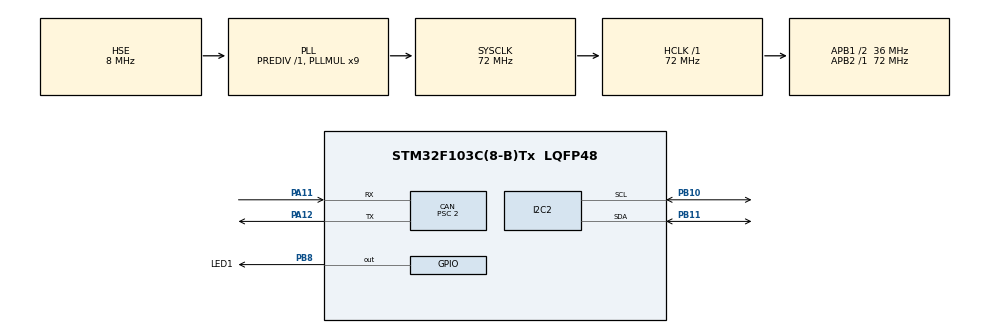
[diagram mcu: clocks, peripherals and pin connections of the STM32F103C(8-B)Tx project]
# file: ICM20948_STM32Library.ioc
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CAN.BS1=CAN_BS1_16TQ
CAN.BS2=CAN_BS2_1TQ
CAN.CalculateBaudRate=1000000
CAN.CalculateTimeBit=1000
CAN.CalculateTimeQuantum=55.55555555555556
CAN.Prescaler=2
Mcu.Family=STM32F1
Mcu.Name=STM32F103C(8-B)Tx
Mcu.Package=LQFP48
NVIC.PriorityGroup=NVIC_PRIORITYGROUP_4
PA11.Mode=CAN_Activate
PA11.Signal=CAN_RX
PA12.Mode=CAN_Activate
PA12.Signal=CAN_TX
PA13.Mode=Serial_Wire
PA13.Signal=SYS_JTMS-SWDIO
PA14.Mode=Serial_Wire
PA14.Signal=SYS_JTCK-SWCLK
PB10.Mode=I2C
PB10.Signal=I2C2_SCL
PB11.Mode=I2C
PB11.Signal=I2C2_SDA
PB8.GPIO_Label=LED1
PB8.Signal=GPIO_Output
PD0-OSC_IN.Mode=HSE-External-Oscillator
PD0-OSC_IN.Signal=RCC_OSC_IN
PD1-OSC_OUT.Mode=HSE-External-Oscillator
PD1-OSC_OUT.Signal=RCC_OSC_OUT
ProjectManager.HeapSize=0x200
ProjectManager.StackSize=0x400
ProjectManager.TargetToolchain=STM32CubeIDE
RCC.AHBFreq_Value=72000000
RCC.APB1CLKDivider=RCC_HCLK_DIV2
RCC.APB1Freq_Value=36000000
RCC.APB1TimFreq_Value=72000000
RCC.APB2Freq_Value=72000000
RCC.APB2TimFreq_Value=72000000
RCC.HCLKFreq_Value=72000000
RCC.PLLMUL=RCC_PLL_MUL9
RCC.PLLSourceVirtual=RCC_PLLSOURCE_HSE
RCC.SYSCLKFreq_VALUE=72000000
RCC.SYSCLKSource=RCC_SYSCLKSOURCE_PLLCLK
RCC.USBFreq_Value=72000000
board=custom

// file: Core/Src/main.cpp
/* USER CODE BEGIN Header */
/**
  ******************************************************************************
  * @file           : main.c
  * @brief          : Main program body
  ******************************************************************************
  * @attention
  *
  * <h2><center>&copy; Copyright (c) 2022 STMicroelectronics.
  * All rights reserved.</center></h2>
  *
  * This software component is licensed by ST under BSD 3-Clause license,
  * the "License"; You may not use this file except in compliance with the
  * License. You may obtain a copy of the License at:
  *                        opensource.org/licenses/BSD-3-Clause
  *
  ******************************************************************************
  */
/* USER CODE END Header */
#include "main.h"

/* USER CODE BEGIN Includes */
#include "ICM_20948.h"
#include "math.h"
/* USER CODE END Includes */

CAN_HandleTypeDef hcan;

I2C_HandleTypeDef hi2c2;

/* USER CODE BEGIN PV */
CAN_TxHeaderTypeDef   TxHeader;
uint32_t              TxMailbox;

bool success;
uint8_t IMUdata[8];
unsigned long long time;
double q0, q1, q2, q3;
float roll, pitch, yaw;
float ax, ay, az;
float gx, gy, gz;
float mx, my, mz;
/* USER CODE END PV */

void SystemClock_Config(void);
static void MX_GPIO_Init(void);
static void MX_CAN_Init(void);
static void MX_I2C2_Init(void);

int main(void)
{

  /* MCU Configuration--------------------------------------------------------*/

  /* Reset of all peripherals, Initializes the Flash interface and the Systick. */
  HAL_Init();

  /* Configure the system clock */
  SystemClock_Config();

  /* Initialize all configured peripherals */
  MX_GPIO_Init();
  MX_CAN_Init();
  MX_I2C2_Init();
  /* USER CODE BEGIN 2 */
  	TxHeader.IDE = CAN_ID_STD;
    TxHeader.StdId = 0x69;
    TxHeader.RTR = CAN_RTR_DATA;
    TxHeader.DLC = 8 ;

    CAN_FilterTypeDef canfilterconfig;
    canfilterconfig.FilterActivation = CAN_FILTER_ENABLE;
    canfilterconfig.FilterBank = 18;  // which filter bank to use from the assigned ones
    canfilterconfig.FilterFIFOAssignment = CAN_FILTER_FIFO0;
    canfilterconfig.FilterIdHigh = 0x446<<5;
    canfilterconfig.FilterIdLow = 0;
    canfilterconfig.FilterMaskIdHigh = 0x446<<5;
    canfilterconfig.FilterMaskIdLow = 0x0000;
    canfilterconfig.FilterMode = CAN_FILTERMODE_IDMASK;
    canfilterconfig.FilterScale = CAN_FILTERSCALE_32BIT;
    canfilterconfig.SlaveStartFilterBank = 20;  // how many filters to assign to the CAN1 (master can)
    HAL_CAN_ConfigFilter(&hcan, &canfilterconfig);

    HAL_CAN_Start(&hcan);
    HAL_CAN_ActivateNotification(&hcan,CAN_IT_RX_FIFO0_MSG_PENDING);

    HAL_GPIO_WritePin(GPIOB, GPIO_PIN_8, GPIO_PIN_SET);
    HAL_Delay(250);
    HAL_GPIO_WritePin(GPIOB, GPIO_PIN_8, GPIO_PIN_RESET);

    ICM_20948_I2C myICM;

    bool initialized = false;
    while (!initialized)
     {
       myICM.begin();
       if (myICM.status != ICM_20948_Stat_Ok)
       {
         HAL_Delay(50);
       }
       else
       {
         initialized = true;
       }
     }

    HAL_GPIO_WritePin(GPIOB, GPIO_PIN_8, GPIO_PIN_SET);
    HAL_Delay(250);
    HAL_GPIO_WritePin(GPIOB, GPIO_PIN_8, GPIO_PIN_RESET);

    // Initialize the digital motion processor
    success = true; // Use success to show if the DMP configuration was successful
    success &= (myICM.initializeDMP() == ICM_20948_Stat_Ok);

    success &= (myICM.enableDMPSensor(INV_ICM20948_SENSOR_ORIENTATION) == ICM_20948_Stat_Ok);
    success &= (myICM.enableDMPSensor(INV_ICM20948_SENSOR_RAW_GYROSCOPE) == ICM_20948_Stat_Ok);
    success &= (myICM.enableDMPSensor(INV_ICM20948_SENSOR_RAW_ACCELEROMETER) == ICM_20948_Stat_Ok);
    success &= (myICM.enableDMPSensor(INV_ICM20948_SENSOR_MAGNETIC_FIELD_UNCALIBRATED) == ICM_20948_Stat_Ok);

    success &= (myICM.setDMPODRrate(DMP_ODR_Reg_Quat9, 0) == ICM_20948_Stat_Ok); // Set to the maximum
    success &= (myICM.setDMPODRrate(DMP_ODR_Reg_Accel, 0) == ICM_20948_Stat_Ok); // Set to the maximum
    success &= (myICM.setDMPODRrate(DMP_ODR_Reg_Gyro, 0) == ICM_20948_Stat_Ok); // Set to the maximum
    success &= (myICM.setDMPODRrate(DMP_ODR_Reg_Cpass, 0) == ICM_20948_Stat_Ok); // Set to the maximum

    success &= (myICM.enableFIFO() == ICM_20948_Stat_Ok);
    success &= (myICM.enableDMP() == ICM_20948_Stat_Ok);
    success &= (myICM.resetDMP() == ICM_20948_Stat_Ok);
    success &= (myICM.resetFIFO() == ICM_20948_Stat_Ok);

    if (success)
    {
    	HAL_GPIO_WritePin(GPIOB, GPIO_PIN_8, GPIO_PIN_SET);
    }
  /* USER CODE END 2 */

  /* Infinite loop */
  /* USER CODE BEGIN WHILE */
  while (1)
  {
	  icm_20948_DMP_data_t data;
	    myICM.readDMPdataFromFIFO(&data);

	    if ((myICM.status == ICM_20948_Stat_Ok) || (myICM.status == ICM_20948_Stat_FIFOMoreDataAvail)) // Was valid data available?
	    {

	      if ((data.header & DMP_header_bitmap_Quat9) > 0) // We have asked for orientation data so we should receive Quat9
	      {
	        q1 = ((double)data.Quat9.Data.Q1) / 1073741824.0; // Convert to double. Divide by 2^30
	        q2 = ((double)data.Quat9.Data.Q2) / 1073741824.0; // Convert to double. Divide by 2^30
	        q3 = ((double)data.Quat9.Data.Q3) / 1073741824.0; // Convert to double. Divide by 2^30
	        q0 = sqrt(1.0 - ((q1 * q1) + (q2 * q2) + (q3 * q3)));
	        float q2sqr = q2 * q2;

		      // Roll
	          float t0 = +2.0 * (q0 * q1 + q2 * q3);
	          float t1 = +1.0 - 2.0 * (q1 * q1 + q2sqr);
	          roll = atan2(t0, t1) * 180.0 / M_PI;

	          // Pitch
	          float t2 = +2.0 * (q0 * q2 - q3 * q1);
	          t2 = (t2 > 1.0) ? 1.0 : t2;
	          t2 = (t2 < -1.0) ? -1.0 : t2;
	          pitch = asin(t2) * 180.0 / M_PI;

	          // Yaw
	          float t3 = +2.0 * (q0 * q3 + q1 * q2);
	          float t4 = +1.0 - 2.0 * (q2sqr + q3 * q3);
	          yaw = atan2(t3, t4) * 180.0 / M_PI;
	      }

	      if ((data.header & DMP_header_bitmap_Accel) > 0) // Check for Accel
	      {
	        ax = (float)data.Raw_Accel.Data.X; // Extract the raw accelerometer data
	        ay = (float)data.Raw_Accel.Data.Y;
	        az = (float)data.Raw_Accel.Data.Z;
	      }

	      if ( (data.header & DMP_header_bitmap_Gyro) > 0 ) // Check for Gyro
	      {
	        gx = (float)data.Raw_Gyro.Data.X; // Extract the raw gyro data
	        gy = (float)data.Raw_Gyro.Data.Y;
	        gz = (float)data.Raw_Gyro.Data.Z;
	      }

	      if ( (data.header & DMP_header_bitmap_Compass) > 0 ) // Check for Compass
	      {
	        mx = (float)data.Compass.Data.X; // Extract the compass data
	        my = (float)data.Compass.Data.Y;
	        mz = (float)data.Compass.Data.Z;
	      }
	    }

	    if (myICM.status != ICM_20948_Stat_FIFOMoreDataAvail) // If more data is available then we should read it right away - and not delay
	    {
	    	HAL_Delay(10);
	    }
    /* USER CODE END WHILE */

  }
}

void SystemClock_Config(void)
{
  RCC_OscInitTypeDef RCC_OscInitStruct = {0};
  RCC_ClkInitTypeDef RCC_ClkInitStruct = {0};

  /** Initializes the RCC Oscillators according to the specified parameters
  * in the RCC_OscInitTypeDef structure.
  */
  RCC_OscInitStruct.OscillatorType = RCC_OSCILLATORTYPE_HSE;
  RCC_OscInitStruct.HSEState = RCC_HSE_ON;
  RCC_OscInitStruct.HSEPredivValue = RCC_HSE_PREDIV_DIV1;
  RCC_OscInitStruct.HSIState = RCC_HSI_ON;
  RCC_OscInitStruct.PLL.PLLState = RCC_PLL_ON;
  RCC_OscInitStruct.PLL.PLLSource = RCC_PLLSOURCE_HSE;
  RCC_OscInitStruct.PLL.PLLMUL = RCC_PLL_MUL9;
  if (HAL_RCC_OscConfig(&RCC_OscInitStruct) != HAL_OK)
  {
    Error_Handler();
  }
  /** Initializes the CPU, AHB and APB buses clocks
  */
  RCC_ClkInitStruct.ClockType = RCC_CLOCKTYPE_HCLK|RCC_CLOCKTYPE_SYSCLK
                              |RCC_CLOCKTYPE_PCLK1|RCC_CLOCKTYPE_PCLK2;
  RCC_ClkInitStruct.SYSCLKSource = RCC_SYSCLKSOURCE_PLLCLK;
  RCC_ClkInitStruct.AHBCLKDivider = RCC_SYSCLK_DIV1;
  RCC_ClkInitStruct.APB1CLKDivider = RCC_HCLK_DIV2;
  RCC_ClkInitStruct.APB2CLKDivider = RCC_HCLK_DIV1;

  if (HAL_RCC_ClockConfig(&RCC_ClkInitStruct, FLASH_LATENCY_2) != HAL_OK)
  {
    Error_Handler();
  }
}

static void MX_CAN_Init(void)
{

  hcan.Instance = CAN1;
  hcan.Init.Prescaler = 2;
  hcan.Init.Mode = CAN_MODE_NORMAL;
  hcan.Init.SyncJumpWidth = CAN_SJW_1TQ;
  hcan.Init.TimeSeg1 = CAN_BS1_16TQ;
  hcan.Init.TimeSeg2 = CAN_BS2_1TQ;
  hcan.Init.TimeTriggeredMode = DISABLE;
  hcan.Init.AutoBusOff = DISABLE;
  hcan.Init.AutoWakeUp = DISABLE;
  hcan.Init.AutoRetransmission = DISABLE;
  hcan.Init.ReceiveFifoLocked = DISABLE;
  hcan.Init.TransmitFifoPriority = DISABLE;
  if (HAL_CAN_Init(&hcan) != HAL_OK)
  {
    Error_Handler();
  }

}

static void MX_I2C2_Init(void)
{

  hi2c2.Instance = I2C2;
  hi2c2.Init.ClockSpeed = 100000;
  hi2c2.Init.DutyCycle = I2C_DUTYCYCLE_2;
  hi2c2.Init.OwnAddress1 = 0;
  hi2c2.Init.AddressingMode = I2C_ADDRESSINGMODE_7BIT;
  hi2c2.Init.DualAddressMode = I2C_DUALADDRESS_DISABLE;
  hi2c2.Init.OwnAddress2 = 0;
  hi2c2.Init.GeneralCallMode = I2C_GENERALCALL_DISABLE;
  hi2c2.Init.NoStretchMode = I2C_NOSTRETCH_DISABLE;
  if (HAL_I2C_Init(&hi2c2) != HAL_OK)
  {
    Error_Handler();
  }

}

static void MX_GPIO_Init(void)
{
  GPIO_InitTypeDef GPIO_InitStruct = {0};

  /* GPIO Ports Clock Enable */
  __HAL_RCC_GPIOD_CLK_ENABLE();
  __HAL_RCC_GPIOB_CLK_ENABLE();
  __HAL_RCC_GPIOA_CLK_ENABLE();

  /*Configure GPIO pin Output Level */
  HAL_GPIO_WritePin(LED1_GPIO_Port, LED1_Pin, GPIO_PIN_RESET);

  /*Configure GPIO pin : LED1_Pin */
  GPIO_InitStruct.Pin = LED1_Pin;
  GPIO_InitStruct.Mode = GPIO_MODE_OUTPUT_PP;
  GPIO_InitStruct.Pull = GPIO_NOPULL;
  GPIO_InitStruct.Speed = GPIO_SPEED_FREQ_LOW;
  HAL_GPIO_Init(LED1_GPIO_Port, &GPIO_InitStruct);

}

/* USER CODE BEGIN 4 */
HAL_StatusTypeDef I2C_write(uint8_t slave_addr, uint8_t reg_addr,
    uint8_t length, uint8_t *data) {
  return HAL_I2C_Mem_Write(&hi2c2, slave_addr << 1, reg_addr,
  I2C_MEMADD_SIZE_8BIT, data, length, 10);
}

HAL_StatusTypeDef I2C_read(uint8_t slave_addr, uint8_t reg_addr, uint8_t length,
    uint8_t *data) {
  return HAL_I2C_Mem_Read(&hi2c2, slave_addr << 1, reg_addr,
  I2C_MEMADD_SIZE_8BIT, data, length, 10);
}
/* USER CODE END 4 */

void Error_Handler(void)
{
  __disable_irq();
  while (1)
  {
  }
}

/************************ (C) COPYRIGHT STMicroelectronics *****END OF FILE****/
